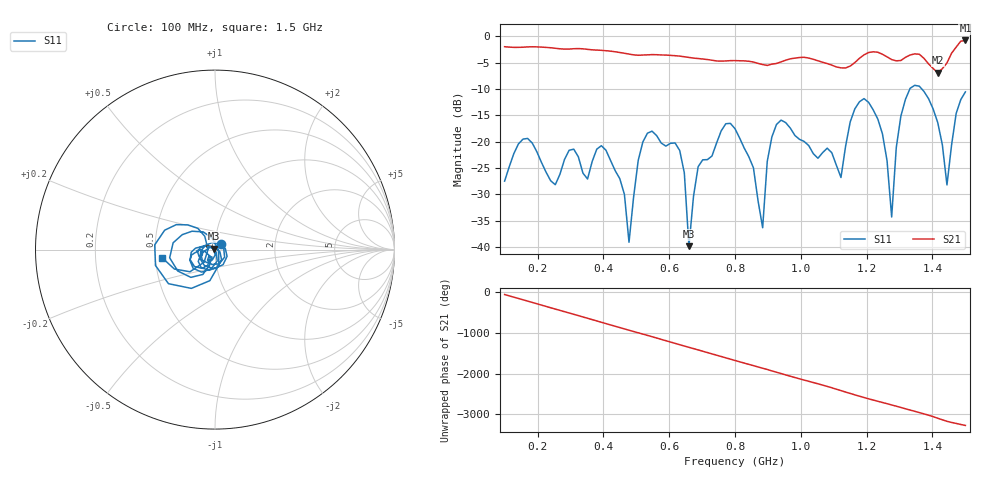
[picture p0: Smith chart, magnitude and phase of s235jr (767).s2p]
! NanoVNA-App
! Date: 2025-09-25 15:10:08
! Start: 100MHz Stop: 1,5GHz Points: 101
! S-Parameter data: F S11 S21 S12 S22
# Hz S RI R 50
!  Frequency  S11_Real  S11_Imag  S21_Real  S21_Imag  S12_Real  S12_Imag  S22_Real  S22_Imag
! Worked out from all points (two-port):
!   101 points, 100 MHz to 1.5 GHz, reference 50 ohm
!   highest |S21| = -0.78 dB at 1.5 GHz (marker M1); lowest = -6.9 dB at 1.416 GHz (marker M2)
!   |S21| within 3 dB of the highest: start of sweep to 635.5 MHz; 1.186 GHz to 1.259 GHz (72.62 MHz wide, 5.94 % of centre) (the widest 2 of 4)
!   lowest |S11| = -39.8 dB at 660 MHz (marker M3), VSWR 1.02, Z = 49.2 + j0.591 ohm
!   |S11| at or under -10 dB: start of sweep to 1.331 GHz; 1.368 GHz to end of sweep
!   S12 and S22 are empty: the file has one direction only
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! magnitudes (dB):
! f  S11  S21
! 100 MHz  -27.5  -2.0
! 170 MHz  -19.4  -2.0
! 338 MHz  -26.0  -2.4
! 408 MHz  -21.6  -2.7
! 478 MHz  -39.1  -3.4
! 520 MHz  -20.0  -3.5
! 576 MHz  -20.3  -3.5
! 632 MHz  -21.7  -3.7
! 660 MHz  -39.8  -4.0
! 688 MHz  -24.7  -4.2
! 800 MHz  -17.5  -4.6
! 884 MHz  -36.3  -5.3
! 926 MHz  -16.7  -5.1
! 1.038 GHz  -22.3  -4.4
! 1.122 GHz  -26.8  -6.0
! 1.192 GHz  -11.8  -3.5
! 1.248 GHz  -18.5  -3.4
! 1.276 GHz  -34.3  -4.4
! 1.332 GHz  -9.9  -3.5
! 1.416 GHz  -16.4  -6.9
! 1.444 GHz  -28.2  -5.0
! 1.5 GHz  -10.5  -0.8
